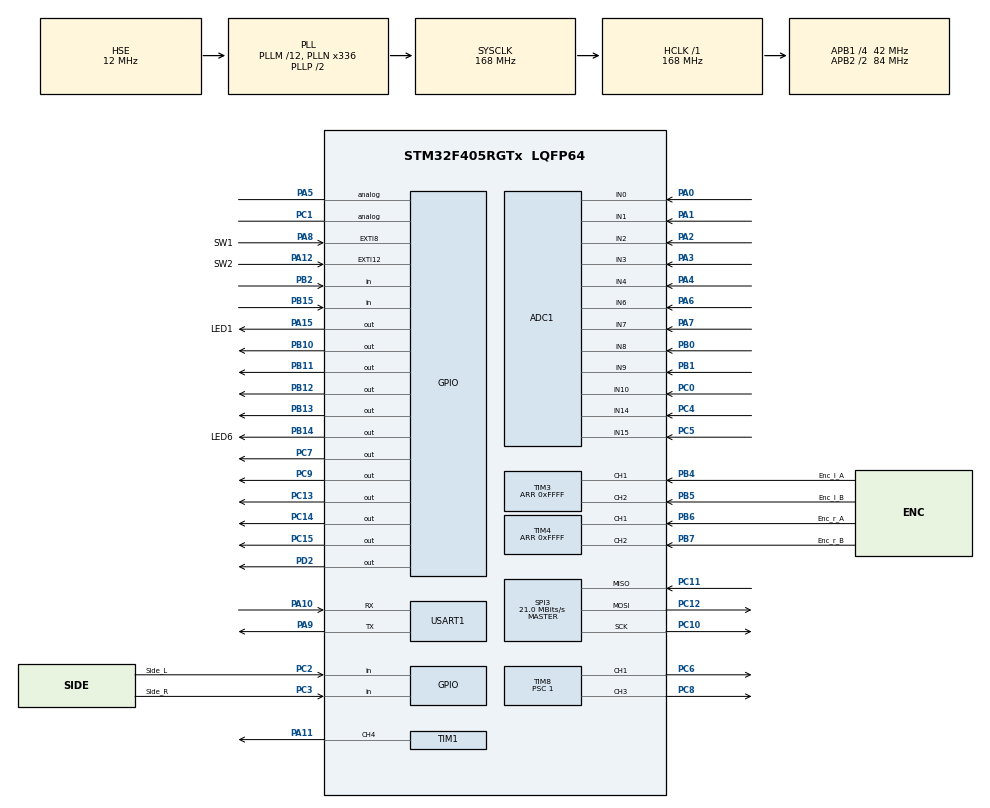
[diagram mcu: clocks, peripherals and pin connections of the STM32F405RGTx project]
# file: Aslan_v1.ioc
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ADC1.Channel-0\#ChannelRegularConversion=ADC_CHANNEL_10
ADC1.Channel-1\#ChannelRegularConversion=ADC_CHANNEL_0
ADC1.Channel-10\#ChannelRegularConversion=ADC_CHANNEL_8
ADC1.Channel-11\#ChannelRegularConversion=ADC_CHANNEL_9
ADC1.Channel-2\#ChannelRegularConversion=ADC_CHANNEL_1
ADC1.Channel-3\#ChannelRegularConversion=ADC_CHANNEL_2
ADC1.Channel-4\#ChannelRegularConversion=ADC_CHANNEL_3
ADC1.Channel-5\#ChannelRegularConversion=ADC_CHANNEL_4
ADC1.Channel-6\#ChannelRegularConversion=ADC_CHANNEL_6
ADC1.Channel-7\#ChannelRegularConversion=ADC_CHANNEL_7
ADC1.Channel-8\#ChannelRegularConversion=ADC_CHANNEL_14
ADC1.Channel-9\#ChannelRegularConversion=ADC_CHANNEL_15
ADC1.ContinuousConvMode=ENABLE
ADC1.DMAContinuousRequests=ENABLE
ADC1.DiscontinuousConvMode=DISABLE
ADC1.EOCSelection=ADC_EOC_SEQ_CONV
ADC1.NbrOfConversion=12
ADC1.NbrOfConversionFlag=1
ADC1.Rank-0\#ChannelRegularConversion=1
ADC1.Rank-1\#ChannelRegularConversion=2
ADC1.Rank-10\#ChannelRegularConversion=11
ADC1.Rank-11\#ChannelRegularConversion=12
ADC1.Rank-2\#ChannelRegularConversion=3
ADC1.Rank-3\#ChannelRegularConversion=4
ADC1.Rank-4\#ChannelRegularConversion=5
ADC1.Rank-5\#ChannelRegularConversion=6
ADC1.Rank-6\#ChannelRegularConversion=7
ADC1.Rank-7\#ChannelRegularConversion=8
ADC1.Rank-8\#ChannelRegularConversion=9
ADC1.Rank-9\#ChannelRegularConversion=10
ADC1.SamplingTime-0\#ChannelRegularConversion=ADC_SAMPLETIME_144CYCLES
ADC1.SamplingTime-1\#ChannelRegularConversion=ADC_SAMPLETIME_144CYCLES
ADC1.SamplingTime-10\#ChannelRegularConversion=ADC_SAMPLETIME_144CYCLES
ADC1.SamplingTime-11\#ChannelRegularConversion=ADC_SAMPLETIME_144CYCLES
ADC1.SamplingTime-2\#ChannelRegularConversion=ADC_SAMPLETIME_144CYCLES
ADC1.SamplingTime-3\#ChannelRegularConversion=ADC_SAMPLETIME_144CYCLES
ADC1.SamplingTime-4\#ChannelRegularConversion=ADC_SAMPLETIME_144CYCLES
ADC1.SamplingTime-5\#ChannelRegularConversion=ADC_SAMPLETIME_144CYCLES
ADC1.SamplingTime-6\#ChannelRegularConversion=ADC_SAMPLETIME_144CYCLES
ADC1.SamplingTime-7\#ChannelRegularConversion=ADC_SAMPLETIME_144CYCLES
ADC1.SamplingTime-8\#ChannelRegularConversion=ADC_SAMPLETIME_144CYCLES
ADC1.SamplingTime-9\#ChannelRegularConversion=ADC_SAMPLETIME_144CYCLES
ADC1.ScanConvMode=ENABLE
ADC1.master=1
Dma.ADC1.0.Direction=DMA_PERIPH_TO_MEMORY
Dma.ADC1.0.FIFOMode=DMA_FIFOMODE_DISABLE
Dma.ADC1.0.Instance=DMA2_Stream0
Dma.ADC1.0.MemDataAlignment=DMA_MDATAALIGN_WORD
Dma.ADC1.0.MemInc=DMA_MINC_ENABLE
Dma.ADC1.0.Mode=DMA_CIRCULAR
Dma.ADC1.0.PeriphDataAlignment=DMA_PDATAALIGN_WORD
Dma.ADC1.0.PeriphInc=DMA_PINC_DISABLE
Dma.ADC1.0.Priority=DMA_PRIORITY_LOW
Dma.Request0=ADC1
Mcu.Family=STM32F4
Mcu.Name=STM32F405RGTx
Mcu.Package=LQFP64
NVIC.DMA2_Stream0_IRQn=true\:0\:0\:false\:false\:true\:false\:true\:true
NVIC.EXTI15_10_IRQn=true\:0\:0\:false\:false\:true\:true\:true\:true
NVIC.EXTI9_5_IRQn=true\:0\:0\:false\:false\:true\:true\:true\:true
NVIC.PriorityGroup=NVIC_PRIORITYGROUP_4
NVIC.TIM6_DAC_IRQn=true\:0\:0\:false\:false\:true\:true\:true\:true
NVIC.TIM7_IRQn=true\:0\:0\:false\:false\:true\:true\:true\:true
PA0-WKUP.Signal=SharedAnalog_PA0
PA1.Signal=SharedAnalog_PA1
PA10.Mode=Asynchronous
PA10.Signal=USART1_RX
PA11.Signal=S_TIM1_CH4
PA12.GPIO_Label=SW2
PA12.GPIO_PuPd=GPIO_PULLUP
PA12.Signal=GPXTI12
PA13.Signal=SYS_JTMS-SWDIO
PA14.Signal=SYS_JTCK-SWCLK
PA15.GPIO_Label=LED1
PA15.Signal=GPIO_Output
PA2.Signal=SharedAnalog_PA2
PA3.Signal=SharedAnalog_PA3
PA4.Signal=SharedAnalog_PA4
PA5.Signal=GPIO_Analog
PA6.Signal=SharedAnalog_PA6
PA7.Signal=SharedAnalog_PA7
PA8.GPIO_Label=SW1
PA8.GPIO_PuPd=GPIO_PULLUP
PA8.Signal=GPXTI8
PA9.Mode=Asynchronous
PA9.Signal=USART1_TX
PB0.Signal=SharedAnalog_PB0
PB1.Signal=SharedAnalog_PB1
PB10.Signal=GPIO_Output
PB11.Signal=GPIO_Output
PB12.Signal=GPIO_Output
PB13.Signal=GPIO_Output
PB14.GPIO_Label=LED6
PB14.Signal=GPIO_Output
PB15.Signal=GPIO_Input
PB2.Signal=GPIO_Input
PB3.Signal=SYS_JTDO-SWO
PB4.GPIO_Label=Enc_l_A
PB4.Signal=S_TIM3_CH1
PB5.GPIO_Label=Enc_l_B
PB5.Signal=S_TIM3_CH2
PB6.GPIO_Label=Enc_r_A
PB6.Signal=S_TIM4_CH1
PB7.GPIO_Label=Enc_r_B
PB7.Signal=S_TIM4_CH2
PB8.Signal=I2C1_SCL
PB9.Signal=I2C1_SDA
PC0.Signal=SharedAnalog_PC0
PC1.Signal=GPIO_Analog
PC10.Mode=Full_Duplex_Master
PC10.Signal=SPI3_SCK
PC11.Mode=Full_Duplex_Master
PC11.Signal=SPI3_MISO
PC12.Mode=Full_Duplex_Master
PC12.Signal=SPI3_MOSI
PC13-ANTI_TAMP.Signal=GPIO_Output
PC14-OSC32_IN.Signal=GPIO_Output
PC15-OSC32_OUT.Signal=GPIO_Output
PC2.GPIO_Label=Side_L
PC2.Signal=GPIO_Input
PC3.GPIO_Label=Side_R
PC3.Signal=GPIO_Input
PC4.Signal=SharedAnalog_PC4
PC5.Signal=SharedAnalog_PC5
PC6.Signal=S_TIM8_CH1
PC7.Signal=GPIO_Output
PC8.Signal=S_TIM8_CH3
PC9.Signal=GPIO_Output
PD2.Signal=GPIO_Output
PH0-OSC_IN.Mode=HSE-External-Oscillator
PH0-OSC_IN.Signal=RCC_OSC_IN
PH1-OSC_OUT.Mode=HSE-External-Oscillator
PH1-OSC_OUT.Signal=RCC_OSC_OUT
ProjectManager.HeapSize=0x200
ProjectManager.StackSize=0x400
ProjectManager.TargetToolchain=STM32CubeIDE
RCC.48MHZClocksFreq_Value=84000000
RCC.AHBFreq_Value=168000000
RCC.APB1CLKDivider=RCC_HCLK_DIV4
RCC.APB1Freq_Value=42000000
RCC.APB1TimFreq_Value=84000000
RCC.APB2CLKDivider=RCC_HCLK_DIV2
RCC.APB2Freq_Value=84000000
RCC.APB2TimFreq_Value=168000000
RCC.CortexFreq_Value=168000000
RCC.HCLKFreq_Value=168000000
RCC.HSE_VALUE=12000000
RCC.HSI_VALUE=16000000
RCC.LSE_VALUE=32768
RCC.PLLM=12
RCC.PLLN=336
RCC.PLLSourceVirtual=RCC_PLLSOURCE_HSE
RCC.SYSCLKFreq_VALUE=168000000
RCC.SYSCLKSource=RCC_SYSCLKSOURCE_PLLCLK
RCC.VCOOutputFreq_Value=336000000
SH.S_TIM1_CH4.0=TIM1_CH4,PWM Generation4 CH4
SH.S_TIM3_CH1.0=TIM3_CH1,Encoder_Interface
SH.S_TIM3_CH2.0=TIM3_CH2,Encoder_Interface
SH.S_TIM4_CH1.0=TIM4_CH1,Encoder_Interface
SH.S_TIM4_CH2.0=TIM4_CH2,Encoder_Interface
SH.S_TIM8_CH1.0=TIM8_CH1,PWM Generation1 CH1
SH.S_TIM8_CH3.0=TIM8_CH3,PWM Generation3 CH3
SH.SharedAnalog_PA0.0=GPIO_Analog
SH.SharedAnalog_PA0.1=ADC1_IN0,IN0
SH.SharedAnalog_PA1.0=GPIO_Analog
SH.SharedAnalog_PA1.1=ADC1_IN1,IN1
SH.SharedAnalog_PA2.0=GPIO_Analog
SH.SharedAnalog_PA2.1=ADC1_IN2,IN2
SH.SharedAnalog_PA3.0=GPIO_Analog
SH.SharedAnalog_PA3.1=ADC1_IN3,IN3
SH.SharedAnalog_PA4.0=GPIO_Analog
SH.SharedAnalog_PA4.1=ADC1_IN4,IN4
SH.SharedAnalog_PA6.0=GPIO_Analog
SH.SharedAnalog_PA6.1=ADC1_IN6,IN6
SH.SharedAnalog_PA7.0=GPIO_Analog
SH.SharedAnalog_PA7.1=ADC1_IN7,IN7
SH.SharedAnalog_PB0.0=GPIO_Analog
SH.SharedAnalog_PB0.1=ADC1_IN8,IN8
SH.SharedAnalog_PB1.0=GPIO_Analog
SH.SharedAnalog_PB1.1=ADC1_IN9,IN9
SH.SharedAnalog_PC0.0=GPIO_Analog
SH.SharedAnalog_PC0.1=ADC1_IN10,IN10
SH.SharedAnalog_PC4.0=GPIO_Analog
SH.SharedAnalog_PC4.1=ADC1_IN14,IN14
SH.SharedAnalog_PC5.0=GPIO_Analog
SH.SharedAnalog_PC5.1=ADC1_IN15,IN15
SPI3.CalculateBaudRate=21.0 MBits/s
SPI3.Direction=SPI_DIRECTION_2LINES
SPI3.Mode=SPI_MODE_MASTER
SPI3.VirtualType=VM_MASTER
TIM1.Channel-PWM\ Generation4\ CH4=TIM_CHANNEL_4
TIM1.Period=4199
TIM3.CounterMode=TIM_COUNTERMODE_UP
TIM3.EncoderMode=TIM_ENCODERMODE_TI12
TIM3.IC1Filter=5
TIM3.IC1Polarity=TIM_ICPOLARITY_FALLING
TIM3.IC2Filter=5
TIM3.IC2Polarity=TIM_ICPOLARITY_FALLING
TIM3.Period=0xFFFF
TIM4.CounterMode=TIM_COUNTERMODE_DOWN
TIM4.EncoderMode=TIM_ENCODERMODE_TI12
TIM4.IC1Filter=5
TIM4.IC1Polarity=TIM_ICPOLARITY_FALLING
TIM4.IC2Filter=5
TIM4.IC2Polarity=TIM_ICPOLARITY_FALLING
TIM4.Period=0xFFFF
TIM6.AutoReloadPreload=TIM_AUTORELOAD_PRELOAD_DISABLE
TIM6.Period=839
TIM6.Prescaler=99
TIM7.Period=99
TIM7.Prescaler=84
TIM8.Channel-PWM\ Generation1\ CH1=TIM_CHANNEL_1
TIM8.Channel-PWM\ Generation3\ CH3=TIM_CHANNEL_3
TIM8.Period=1399
TIM8.Prescaler=1
USART1.VirtualMode=VM_ASYNC
VP_TIM6_VS_ClockSourceINT.Mode=Enable_Timer
VP_TIM7_VS_ClockSourceINT.Mode=Enable_Timer
VP_TIM8_VS_ClockSourceINT.Mode=Internal
board=custom

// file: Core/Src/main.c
/* USER CODE BEGIN Header */
/**
 ******************************************************************************
 * @file           : main.c
 * @brief          : Main program body
 ******************************************************************************
 * @attention
 *
 * Copyright (c) 2025 STMicroelectronics.
 * All rights reserved.
 *
 * This software is licensed under terms that can be found in the LICENSE file
 * in the root directory of this software component.
 * If no LICENSE file comes with this software, it is provided AS-IS.
 *
 ******************************************************************************
 */
/* USER CODE END Header */

#include "main.h"
#include "adc.h"
#include "dma.h"
#include "spi.h"
#include "tim.h"
#include "usart.h"
#include "gpio.h"

/* USER CODE BEGIN Includes */
#include "stdio.h"
#include <stdbool.h>
#include <math.h>
#include <string.h>

#include "Encoder.h"
#include "SW.h"
#include "LED.h"
#include "Sensor.h"
#include "Motor.h"
#include "SpeedCtrl.h"
#include "Motor.h"

/* USER CODE END Includes */

/* USER CODE BEGIN PV */
extern DMA_HandleTypeDef hdma_adc1;
extern SPI_HandleTypeDef hspi3;

uint32_t timer, timer1, timer2;
uint32_t adc_values[ADC_NUM];
extern volatile uint32_t time_ms;
int lion = 0;
int bayado = 0;
int sw = 0;
int sw2 = 0;

bool calibration_mode = true;
/* USER CODE END PV */

void SystemClock_Config(void);

/* USER CODE BEGIN 0 */
int __io_putchar(int ch)
{
	HAL_UART_Transmit(&huart1, (uint8_t *)&ch, 1, HAL_MAX_DELAY);
	return ch;
}

void HAL_TIM_PeriodElapsedCallback(TIM_HandleTypeDef *htim)
{
	if (htim->Instance == TIM6)
	{ // 1ms
		timer++;
		timer2++;

		Sensor_Update();
		Encoder_Update();
		SpeedCtrl_Update(); // 速度制御更新
		motorCtrlFlip();	// モータ制御反映
	}
	if (htim->Instance == TIM7)
	{ // 0.1ms
		timer1++;

		Sensor_BufferUpdate();
	}
}
void Init(void)
{
	// タイマー起動（センサー更新に必要）
	HAL_TIM_Base_Start_IT(&htim6); // 1ms timer start
	HAL_TIM_Base_Start_IT(&htim7); // 0.1ms timer start

	LED(LED_RED);
	Sensor_Init(); // ADC DMA開始

	HAL_Delay(500); // ADC安定待ち

	LED(LED_YELLOW);	// キャリブレーション開始を示す
	Sensor_Calibrate(); // 左ボタンを押すまでキャリブレーション

	LED(LED_GREEN); // キャリブレーション完了
	HAL_Delay(500);

	Encoder_Init();	  // エンコーダ初期化
	Motor_Init();	  // モータ初期化
	SpeedCtrl_Init(); // 速度制御初期化

	LED(LED_OFF);
	printf("System ready!\r\n");
}
/* USER CODE END 0 */

int main(void)
{

	/* MCU Configuration--------------------------------------------------------*/

	/* Reset of all peripherals, Initializes the Flash interface and the Systick. */
	HAL_Init();

	/* Configure the system clock */
	SystemClock_Config();

	/* Initialize all configured peripherals */
	MX_GPIO_Init();
	MX_DMA_Init();
	MX_USART1_UART_Init();
	MX_ADC1_Init();
	MX_TIM8_Init();
	MX_TIM3_Init();
	MX_TIM4_Init();
	MX_TIM6_Init();
	MX_TIM7_Init();
	MX_TIM1_Init();
	MX_SPI3_Init();
	/* USER CODE BEGIN 2 */
	Init();

	/* USER CODE END 2 */

	/* Infinite loop */
	while (1)
	{
		/* USER CODE BEGIN 3 */
		if (StatusR('R') == 2 && sw2 == 0)
		{
			timer2 = 0;
			sw2 = 1;
		}
		if (StatusR('R') == 2 && timer2 > 20 && sw2 == 1)
		{
			sw2 = 2;
		}
		if (timer2 > 40 && sw2 == 1)
		{
			sw2 = 0;
		}
		if (StatusR('R') == 0 && sw2 == 2)
		{
			bayado = lion;
			printf("Right button released! lion=%d -> bayado=%d\r\n", lion, bayado);
			sw2 = 0;
		}
		if (StatusL('L') == 1 && sw == 0)
		{
			timer = 0;
			sw = 1;
		}
		if (StatusL('L') == 1 && timer > 20 && sw == 1)
		{
			sw = 2;
		}
		if (timer > 40 && sw == 1)
		{
			sw = 0;
		}
		if (StatusL('L') == 0 && sw == 2)
		{
			lion++;
			if (lion >= 8)
				lion = 0;
			sw = 0;
		}

		switch (lion)
		{
		case 0:
			LED(LED_RED);
			break;
		case 1:
			LED(LED_BLUE);
			break;
		case 2:
			LED(LED_GREEN);
			break;
		case 3:
			LED(LED_CYAN);
			break;
		case 4:
			LED(LED_MAGENTA);
			break;
		case 5:
			LED(LED_YELLOW);
			break;
		case 6:
			LED(LED_WHITE);
			break;
		case 7:
			LED(LED_OFF);
			break;
		default:
			break;
		}

		// Current status display
		static uint32_t last_print_time = 0;
		if (timer1 - last_print_time > 1000) // 100ms毎に表示
		{
			if (speed_control_enabled)
			{
				// エンコーダカウント値も表示
				int16_t enc_l, enc_r;
				getEncoderCnt(&enc_l, &enc_r);
				printf("Speed[m/s] L:%.3f(%.3f) R:%.3f(%.3f) PWM L:%d R:%d Enc L:%d R:%d\r\n",
					   current_speed_l, target_speed_l,
					   current_speed_r, target_speed_r,
					   motor_l, motor_r,
					   enc_l, enc_r);
			}
			else
			{
				printf("Manual PWM - L:%d R:%d\r\n", motor_l, motor_r);
			}
			last_print_time = timer1;
		}

		static int last_bayado = -1;
		static uint32_t mode_start_time = 0;
		static bool test_running = false;

		if (bayado != last_bayado && bayado >= 0)
		{
			mode_start_time = timer1;
			test_running = false;

			switch (bayado)
			{
			case 0:
				printf("=== Mode 0: Standby - Motors OFF ===\r\n");
				speed_control_enabled = false;
				setMotor(0, 0);
				break;
			case 1:
				printf("=== Mode 1: PI Test 0.45 m/s (Start in 3s, Stop after 5s) ===\r\n");
				speed_control_enabled = false;
				setMotor(0, 0);
				break;
			case 2:
				printf("=== Mode 2: PI Test 0.9 m/s (Start in 3s, Stop after 5s) ===\r\n");
				speed_control_enabled = false;
				setMotor(0, 0);
				break;
			case 3:
				printf("=== Mode 3: Speed 1.5 m/s ===\r\n");
				speed_control_enabled = true;
				setTarget(1.5f);
				break;
			case 4:
				printf("=== Mode 4: Speed -0.5 m/s (Backward) ===\r\n");
				speed_control_enabled = true;
				setTarget(-0.5f);
				break;
			case 5:
				printf("=== Mode 5: Turn Right (L:0.5, R:-0.5) ===\r\n");
				speed_control_enabled = true;
				setTargetSpeed(0.5f, -0.5f);
				break;
			case 6:
				printf("=== Mode 6: Manual PWM 500 ===\r\n");
				speed_control_enabled = false;
				setMotor(500, 500);
				break;
			case 7:
				printf("=== Mode 7: Manual PWM 1000 ===\r\n");
				speed_control_enabled = false;
				setMotor(1000, 1000);
				break;
			default:
				printf("=== Mode: Unknown - Motors OFF ===\r\n");
				speed_control_enabled = false;
				setMotor(0, 0);
				break;
			}
			last_bayado = bayado;
		}

		// 自動テストシーケンス (Mode 1, 2)
		if (bayado == 1 || bayado == 2)
		{
			uint32_t elapsed = timer1 - mode_start_time;

			// 3秒後に開始
			if (elapsed >= 30000 && !test_running)
			{
				test_running = true;
				if (bayado == 1)
				{
					setTarget(0.45f);
				}
				else
				{
					setTarget(0.9f);
				}
				speed_control_enabled = true;
			}

			// 8秒後(開始から5秒後)に停止
			if (elapsed >= 130000 && test_running)
			{
				test_running = false;
				setMotor(0, 0);
				speed_control_enabled = false;
				printf(">>> Test stopped\r\n");
			}
		}
	}
	/* USER CODE END 3 */
}

void SystemClock_Config(void)
{
	RCC_OscInitTypeDef RCC_OscInitStruct = {0};
	RCC_ClkInitTypeDef RCC_ClkInitStruct = {0};

	/** Configure the main internal regulator output voltage
	 */
	__HAL_RCC_PWR_CLK_ENABLE();
	__HAL_PWR_VOLTAGESCALING_CONFIG(PWR_REGULATOR_VOLTAGE_SCALE1);

	/** Initializes the RCC Oscillators according to the specified parameters
	 * in the RCC_OscInitTypeDef structure.
	 */
	RCC_OscInitStruct.OscillatorType = RCC_OSCILLATORTYPE_HSE;
	RCC_OscInitStruct.HSEState = RCC_HSE_ON;
	RCC_OscInitStruct.PLL.PLLState = RCC_PLL_ON;
	RCC_OscInitStruct.PLL.PLLSource = RCC_PLLSOURCE_HSE;
	RCC_OscInitStruct.PLL.PLLM = 12;
	RCC_OscInitStruct.PLL.PLLN = 336;
	RCC_OscInitStruct.PLL.PLLP = RCC_PLLP_DIV2;
	RCC_OscInitStruct.PLL.PLLQ = 4;
	if (HAL_RCC_OscConfig(&RCC_OscInitStruct) != HAL_OK)
	{
		Error_Handler();
	}

	/** Initializes the CPU, AHB and APB buses clocks
	 */
	RCC_ClkInitStruct.ClockType = RCC_CLOCKTYPE_HCLK | RCC_CLOCKTYPE_SYSCLK | RCC_CLOCKTYPE_PCLK1 | RCC_CLOCKTYPE_PCLK2;
	RCC_ClkInitStruct.SYSCLKSource = RCC_SYSCLKSOURCE_PLLCLK;
	RCC_ClkInitStruct.AHBCLKDivider = RCC_SYSCLK_DIV1;
	RCC_ClkInitStruct.APB1CLKDivider = RCC_HCLK_DIV4;
	RCC_ClkInitStruct.APB2CLKDivider = RCC_HCLK_DIV2;

	if (HAL_RCC_ClockConfig(&RCC_ClkInitStruct, FLASH_LATENCY_5) != HAL_OK)
	{
		Error_Handler();
	}
}

void Error_Handler(void)
{
	__disable_irq();
	while (1)
	{
	}
}
